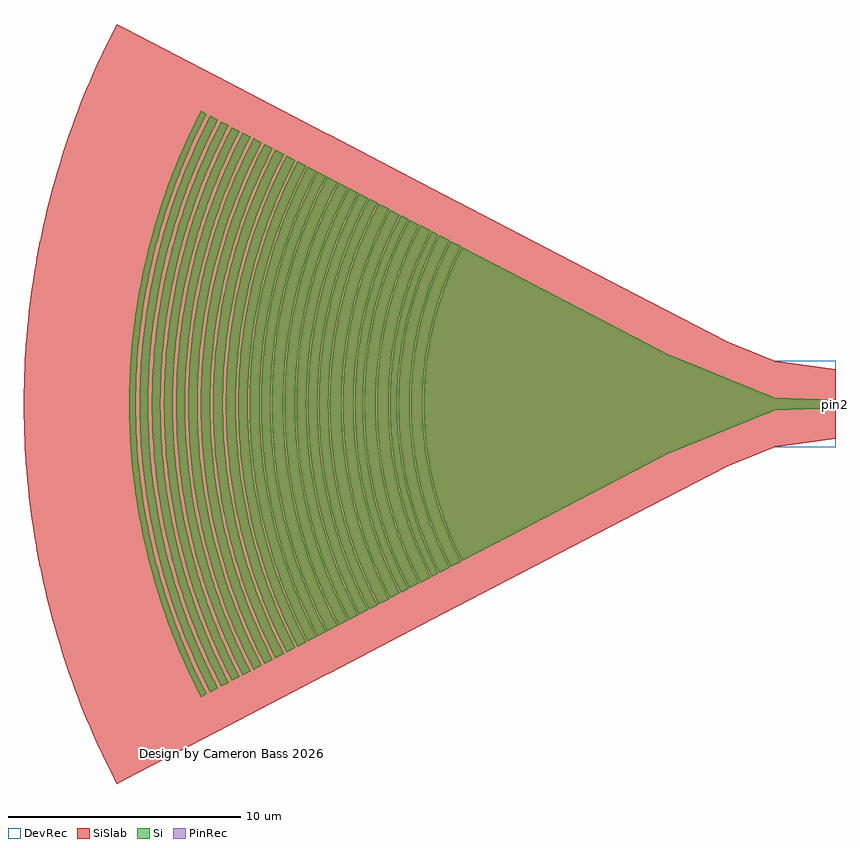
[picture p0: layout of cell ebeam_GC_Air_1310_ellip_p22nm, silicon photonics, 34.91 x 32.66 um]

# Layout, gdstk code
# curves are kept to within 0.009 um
import gdstk
lib = gdstk.Library(unit=1e-6, precision=1e-09)
def P(c, l, *ps):  # polygons
    for p in ps: c.add(gdstk.Polygon(p, *l))
Si = (1, 0)
PinRec = (1, 10)
SiSlab = (2, 0)
DevRec = (68, 0)

ebeam_gc_air_1310_ellip_ = lib.new_cell('ebeam_GC_Air_1310_ellip_p22nm')
P(ebeam_gc_air_1310_ellip_, Si, [(-16.057,-6.746),(-16.43,-5.978),(-16.805,-5.061),(-17.034,-4.391),(-17.299,-3.436),(-17.476,-2.605),(-17.603,-1.766),(-17.681,-0.919),(-17.709,-0.071),(-17.681,0.919),(-17.603,1.766),(-17.476,2.606),(-17.299,3.436),(-17.034,4.391),(-16.805,5.061),(-16.43,5.978),(-16.057,6.746),(-7.069,2.071),(-2.648,0.272),(0,0.175),(0,-0.175),(-2.67,-0.278),(-2.853,-0.364),(-3.177,-0.484),(-7.114,-2.09)],
  [(-16.55,-7.001),(-16.933,-6.208),(-17.271,-5.393),(-17.56,-4.56),(-17.726,-3.996),(-17.835,-3.568),(-18.019,-2.705),(-18.15,-1.834),(-18.24,-0.808),(-18.261,0.074),(-18.231,0.955),(-18.132,1.979),(-17.992,2.85),(-17.8,3.711),(-17.56,4.56),(-17.271,5.393),(-16.933,6.208),(-16.549,7.002),(-16.107,6.771),(-16.481,6.001),(-16.808,5.213),(-17.087,4.408),(-17.32,3.588),(-17.419,3.173),(-17.53,2.616),(-17.658,1.772),(-17.745,0.782),(-17.765,0.071),(-17.745,-0.782),(-17.658,-1.772),(-17.53,-2.615),(-17.354,-3.45),(-17.087,-4.409),(-16.808,-5.213),(-16.481,-6.001),(-16.107,-6.771)],
  [(-17.031,-7.252),(-17.427,-6.432),(-17.777,-5.588),(-18.076,-4.725),(-18.361,-3.697),(-18.551,-2.803),(-18.626,-2.352),(-18.705,-1.748),(-18.78,-0.837),(-18.802,0.076),(-18.788,0.685),(-18.761,1.142),(-18.668,2.051),(-18.523,2.953),(-18.325,3.845),(-18.076,4.724),(-17.777,5.588),(-17.427,6.432),(-17.03,7.252),(-16.598,7.027),(-16.861,6.499),(-17.044,6.096),(-17.374,5.275),(-17.657,4.435),(-17.891,3.582),(-18.073,2.716),(-18.206,1.84),(-18.287,0.959),(-18.317,0.074),(-18.296,-0.811),(-18.206,-1.84),(-18.073,-2.716),(-17.891,-3.582),(-17.657,-4.435),(-17.374,-5.275),(-17.044,-6.096),(-16.861,-6.499),(-16.598,-7.027)],
  [(-17.35,-7.419),(-17.756,-6.58),(-18.114,-5.717),(-18.42,-4.834),(-18.675,-3.934),(-18.878,-3.021),(-18.959,-2.561),(-19.046,-1.944),(-19.132,-1.012),(-19.163,-0.078),(-19.141,0.857),(-19.046,1.944),(-18.906,2.868),(-18.712,3.783),(-18.466,4.684),(-18.169,5.571),(-17.756,6.581),(-17.35,7.419),(-17.08,7.277),(-17.54,6.315),(-17.774,5.751),(-17.985,5.177),(-18.175,4.595),(-18.302,4.155),(-18.452,3.562),(-18.548,3.114),(-18.681,2.361),(-18.777,1.603),(-18.836,0.841),(-18.858,0.077),(-18.843,-0.688),(-18.792,-1.45),(-18.681,-2.361),(-18.548,-3.114),(-18.452,-3.562),(-18.302,-4.154),(-18.175,-4.595),(-17.985,-5.177),(-17.773,-5.75),(-17.54,-6.315),(-17.08,-7.277)],
  [(-17.847,-7.677),(-18.265,-6.81),(-18.456,-6.367),(-18.692,-5.766),(-19,-4.848),(-19.254,-3.915),(-19.362,-3.443),(-19.483,-2.81),(-19.618,-1.851),(-19.697,-0.887),(-19.721,0.081),(-19.688,1.048),(-19.599,2.012),(-19.455,2.968),(-19.254,3.915),(-19,4.848),(-18.692,5.766),(-18.265,6.811),(-17.846,7.677),(-17.4,7.444),(-17.742,6.747),(-18.11,5.883),(-18.426,5),(-18.565,4.552),(-18.73,3.948),(-18.838,3.491),(-18.961,2.878),(-19.101,1.95),(-19.165,1.328),(-19.197,0.86),(-19.219,0.078),(-19.197,-0.86),(-19.165,-1.328),(-19.101,-1.95),(-18.961,-2.878),(-18.767,-3.796),(-18.52,-4.702),(-18.377,-5.148),(-18.165,-5.737),(-17.807,-6.604),(-17.4,-7.444)],
  [(-18.327,-7.927),(-18.759,-7.032),(-19.019,-6.419),(-19.199,-5.954),(-19.518,-5.006),(-19.78,-4.042),(-19.987,-3.065),(-20.137,-2.077),(-20.19,-1.58),(-20.238,-0.915),(-20.262,0.083),(-20.228,1.082),(-20.137,2.077),(-19.987,3.065),(-19.78,4.042),(-19.518,5.006),(-19.312,5.64),(-19.141,6.11),(-18.759,7.033),(-18.326,7.927),(-17.898,7.703),(-18.318,6.834),(-18.571,6.239),(-18.745,5.785),(-19.055,4.865),(-19.311,3.929),(-19.511,2.978),(-19.656,2.018),(-19.746,1.052),(-19.779,0.081),(-19.755,-0.89),(-19.675,-1.857),(-19.539,-2.819),(-19.45,-3.297),(-19.311,-3.928),(-19.055,-4.865),(-18.745,-5.785),(-18.571,-6.238),(-18.318,-6.834),(-17.898,-7.703)],
  [(-18.689,-8.115),(-19.131,-7.199),(-19.523,-6.254),(-19.858,-5.288),(-20.05,-4.634),(-20.177,-4.138),(-20.291,-3.64),(-20.419,-2.97),(-20.562,-1.956),(-20.646,-0.937),(-20.67,0.085),(-20.636,1.107),(-20.542,2.127),(-20.389,3.138),(-20.177,4.138),(-20.05,4.634),(-19.858,5.287),(-19.523,6.254),(-19.131,7.199),(-18.688,8.115),(-18.376,7.953),(-18.811,7.056),(-19.134,6.286),(-19.472,5.342),(-19.62,4.863),(-19.796,4.218),(-20.012,3.24),(-20.172,2.25),(-20.274,1.252),(-20.303,0.752),(-20.319,0.084),(-20.295,-0.919),(-20.23,-1.752),(-20.125,-2.581),(-19.98,-3.404),(-19.875,-3.893),(-19.711,-4.541),(-19.523,-5.182),(-19.365,-5.659),(-19.134,-6.285),(-18.945,-6.749),(-18.671,-7.36),(-18.376,-7.952)],
  [(-19.146,-8.354),(-19.602,-7.412),(-19.877,-6.765),(-20.067,-6.275),(-20.402,-5.276),(-20.679,-4.26),(-20.897,-3.23),(-21.055,-2.189),(-21.151,-1.14),(-21.187,-0.088),(-21.177,0.615),(-21.151,1.14),(-21.055,2.189),(-20.897,3.23),(-20.679,4.26),(-20.402,5.276),(-20.067,6.275),(-19.673,7.252),(-19.38,7.89),(-19.146,8.354),(-18.739,8.141),(-19.184,7.223),(-19.452,6.593),(-19.635,6.114),(-19.963,5.141),(-20.234,4.152),(-20.445,3.148),(-20.599,2.133),(-20.693,1.111),(-20.728,0.086),(-20.703,-0.941),(-20.619,-1.963),(-20.475,-2.979),(-20.381,-3.484),(-20.234,-4.152),(-19.963,-5.141),(-19.635,-6.114),(-19.253,-7.066),(-19.041,-7.533),(-18.739,-8.141)],
  [(-19.645,-8.614),(-20.113,-7.645),(-20.529,-6.642),(-20.884,-5.616),(-21.18,-4.57),(-21.415,-3.51),(-21.588,-2.438),(-21.698,-1.357),(-21.729,-0.815),(-21.747,-0.09),(-21.721,0.995),(-21.684,1.538),(-21.61,2.258),(-21.448,3.332),(-21.223,4.395),(-20.938,5.442),(-20.714,6.131),(-20.529,6.642),(-20.113,7.645),(-19.645,8.614),(-19.197,8.38),(-19.654,7.435),(-20.058,6.459),(-20.238,5.963),(-20.457,5.293),(-20.693,4.445),(-20.92,3.414),(-21.089,2.371),(-21.167,1.671),(-21.208,1.144),(-21.244,0.088),(-21.239,-0.44),(-21.208,-1.144),(-21.111,-2.195),(-20.953,-3.24),(-20.735,-4.274),(-20.457,-5.292),(-20.295,-5.796),(-20.059,-6.459),(-19.654,-7.435),(-19.198,-8.38)],
  [(-20.06,-8.83),(-20.541,-7.835),(-20.967,-6.807),(-21.332,-5.755),(-21.635,-4.683),(-21.876,-3.597),(-22.053,-2.498),(-22.166,-1.391),(-22.198,-0.835),(-22.216,-0.093),(-22.189,1.02),(-22.098,2.129),(-22.028,2.682),(-21.91,3.415),(-21.679,4.504),(-21.491,5.222),(-21.332,5.755),(-20.967,6.807),(-20.541,7.835),(-20.06,8.83),(-19.699,8.641),(-20.169,7.669),(-20.521,6.832),(-20.711,6.322),(-20.943,5.633),(-21.24,4.585),(-21.475,3.521),(-21.597,2.805),(-21.671,2.265),(-21.771,1.18),(-21.808,0.091),(-21.782,-0.999),(-21.745,-1.542),(-21.671,-2.264),(-21.508,-3.342),(-21.283,-4.408),(-20.996,-5.46),(-20.649,-6.492),(-20.243,-7.502),(-20.017,-7.999),(-19.699,-8.641)],
  [(-20.481,-9.049),(-20.974,-8.028),(-21.411,-6.974),(-21.784,-5.897),(-21.948,-5.35),(-22.14,-4.614),(-22.377,-3.499),(-22.498,-2.748),(-22.569,-2.183),(-22.663,-1.045),(-22.691,0.095),(-22.652,1.235),(-22.547,2.371),(-22.377,3.499),(-22.267,4.059),(-22.095,4.799),(-21.784,5.897),(-21.411,6.974),(-20.974,8.028),(-20.734,8.545),(-20.48,9.049),(-20.111,8.856),(-20.594,7.858),(-21.02,6.827),(-21.211,6.302),(-21.441,5.595),(-21.736,4.517),(-21.966,3.425),(-22.133,2.321),(-22.235,1.209),(-22.273,0.093),(-22.246,-1.023),(-22.192,-1.766),(-22.133,-2.32),(-21.966,-3.425),(-21.736,-4.517),(-21.596,-5.058),(-21.386,-5.773),(-21.02,-6.826),(-20.594,-7.858),(-20.112,-8.857)],
  [(-20.916,-9.275),(-21.175,-8.757),(-21.501,-8.048),(-21.938,-6.964),(-22.31,-5.857),(-22.617,-4.729),(-22.86,-3.585),(-23.035,-2.43),(-23.142,-1.265),(-23.176,-0.487),(-23.181,0.097),(-23.142,1.265),(-23.035,2.43),(-22.86,3.586),(-22.747,4.159),(-22.571,4.918),(-22.252,6.043),(-21.869,7.147),(-21.422,8.227),(-20.915,9.275),(-20.535,9.076),(-21.031,8.051),(-21.468,6.994),(-21.844,5.913),(-22.008,5.366),(-22.202,4.628),(-22.438,3.509),(-22.609,2.378),(-22.714,1.239),(-22.753,0.096),(-22.742,-0.667),(-22.714,-1.238),(-22.609,-2.377),(-22.438,-3.509),(-22.202,-4.628),(-22.008,-5.366),(-21.844,-5.913),(-21.468,-6.994),(-21.031,-8.051),(-20.535,-9.076)],
  [(-21.367,-9.51),(-21.633,-8.98),(-21.966,-8.253),(-22.414,-7.142),(-22.796,-6.005),(-23.111,-4.849),(-23.36,-3.677),(-23.539,-2.492),(-23.649,-1.297),(-23.684,-0.499),(-23.689,0.1),(-23.678,0.7),(-23.649,1.298),(-23.539,2.492),(-23.36,3.677),(-23.111,4.849),(-22.962,5.43),(-22.737,6.197),(-22.344,7.329),(-21.885,8.436),(-21.633,8.98),(-21.366,9.51),(-20.965,9.3),(-21.474,8.25),(-21.923,7.167),(-22.307,6.059),(-22.475,5.498),(-22.673,4.742),(-22.915,3.595),(-23.091,2.436),(-23.198,1.27),(-23.238,0.098),(-23.21,-1.074),(-23.153,-1.854),(-23.091,-2.436),(-22.915,-3.595),(-22.673,-4.742),(-22.475,-5.498),(-22.307,-6.059),(-21.922,-7.166),(-21.474,-8.25),(-20.965,-9.3)],
  [(-21.855,-9.763),(-22.126,-9.222),(-22.468,-8.476),(-22.928,-7.334),(-23.133,-6.754),(-23.32,-6.167),(-23.491,-5.576),(-23.644,-4.98),(-23.781,-4.38),(-23.899,-3.776),(-24,-3.168),(-24.107,-2.354),(-24.208,-1.128),(-24.237,0.103),(-24.226,0.718),(-24.196,1.333),(-24.083,2.559),(-23.899,3.776),(-23.781,4.38),(-23.595,5.179),(-23.26,6.364),(-22.856,7.527),(-22.385,8.664),(-22.126,9.222),(-21.854,9.764),(-21.416,9.535),(-21.854,8.642),(-22.325,7.536),(-22.73,6.404),(-22.908,5.831),(-23.119,5.058),(-23.258,4.472),(-23.378,3.884),(-23.57,2.697),(-23.692,1.501),(-23.727,0.901),(-23.746,0.1),(-23.717,-1.102),(-23.659,-1.901),(-23.595,-2.498),(-23.415,-3.687),(-23.167,-4.863),(-22.85,-6.023),(-22.467,-7.161),(-22.251,-7.722),(-21.937,-8.459),(-21.416,-9.535)],
  [(-22.269,-9.979),(-22.546,-9.425),(-22.811,-8.854),(-23.293,-7.692),(-23.705,-6.504),(-23.885,-5.901),(-24.098,-5.09),(-24.28,-4.271),(-24.395,-3.653),(-24.492,-3.031),(-24.571,-2.406),(-24.674,-1.153),(-24.698,-0.525),(-24.704,0.105),(-24.692,0.734),(-24.662,1.362),(-24.613,1.99),(-24.546,2.616),(-24.358,3.859),(-24.237,4.477),(-24.098,5.09),(-23.885,5.901),(-23.705,6.504),(-23.293,7.692),(-22.811,8.855),(-22.546,9.425),(-22.268,9.979),(-21.904,9.789),(-22.265,9.061),(-22.52,8.499),(-22.835,7.739),(-23.051,7.16),(-23.251,6.577),(-23.49,5.79),(-23.65,5.194),(-23.836,4.392),(-24.055,3.177),(-24.184,2.157),(-24.264,1.131),(-24.294,0.103),(-24.288,-0.515),(-24.264,-1.131),(-24.184,-2.157),(-24.055,-3.177),(-23.836,-4.392),(-23.65,-5.194),(-23.49,-5.789),(-23.251,-6.576),(-23.051,-7.16),(-22.759,-7.93),(-22.52,-8.498),(-22.265,-9.061),(-21.904,-9.789)],
  [(-22.702,-10.205),(-22.988,-9.637),(-23.259,-9.053),(-23.514,-8.463),(-23.752,-7.865),(-24.173,-6.65),(-24.415,-5.827),(-24.575,-5.204),(-24.718,-4.577),(-24.841,-3.946),(-24.947,-3.311),(-25.034,-2.674),(-25.102,-2.034),(-25.152,-1.392),(-25.183,-0.751),(-25.195,-0.107),(-25.189,0.536),(-25.164,1.179),(-25.121,1.821),(-25.059,2.46),(-24.978,3.099),(-24.879,3.735),(-24.718,4.577),(-24.575,5.204),(-24.415,5.827),(-24.236,6.445),(-24.04,7.058),(-23.827,7.665),(-23.346,8.858),(-22.988,9.637),(-22.702,10.205),(-22.321,10.006),(-22.691,9.26),(-22.952,8.686),(-23.274,7.909),(-23.494,7.318),(-23.763,6.521),(-23.943,5.917),(-24.107,5.307),(-24.297,4.489),(-24.488,3.455),(-24.631,2.413),(-24.722,1.366),(-24.753,0.736),(-24.765,0.105),(-24.745,-0.946),(-24.708,-1.576),(-24.653,-2.204),(-24.521,-3.247),(-24.297,-4.489),(-24.107,-5.307),(-23.943,-5.917),(-23.763,-6.521),(-23.494,-7.318),(-23.274,-7.909),(-22.952,-8.686),(-22.691,-9.26),(-22.321,-10.006)],
  [(-23.134,-10.43),(-23.429,-9.844),(-23.706,-9.248),(-24.21,-8.034),(-24.641,-6.793),(-24.829,-6.163),(-24.999,-5.528),(-25.284,-4.246),(-25.398,-3.598),(-25.493,-2.949),(-25.569,-2.296),(-25.641,-1.423),(-25.673,-0.767),(-25.685,-0.109),(-25.679,0.547),(-25.654,1.204),(-25.609,1.86),(-25.546,2.513),(-25.463,3.166),(-25.324,4.031),(-25.197,4.676),(-25.051,5.316),(-24.887,5.953),(-24.705,6.583),(-24.505,7.21),(-24.287,7.83),(-23.795,9.048),(-23.524,9.646),(-23.134,10.43),(-22.769,10.24),(-23.149,9.473),(-23.416,8.885),(-23.746,8.091),(-23.971,7.487),(-24.246,6.671),(-24.431,6.053),(-24.65,5.221),(-24.793,4.592),(-24.989,3.534),(-25.082,2.896),(-25.157,2.255),(-25.24,1.183),(-25.272,0.108),(-25.251,-0.968),(-25.157,-2.255),(-24.989,-3.534),(-24.793,-4.592),(-24.65,-5.221),(-24.431,-6.053),(-24.246,-6.671),(-23.971,-7.487),(-23.746,-8.091),(-23.416,-8.885),(-23.149,-9.472),(-22.769,-10.239)],
  [(-23.604,-10.675),(-23.908,-10.069),(-24.283,-9.255),(-24.543,-8.635),(-24.786,-8.009),(-25.009,-7.374),(-25.214,-6.734),(-25.401,-6.089),(-25.568,-5.438),(-25.718,-4.783),(-25.847,-4.123),(-25.958,-3.459),(-26.049,-2.794),(-26.12,-2.125),(-26.172,-1.455),(-26.205,-0.784),(-26.218,0.112),(-26.205,0.784),(-26.172,1.455),(-26.12,2.126),(-26.049,2.794),(-25.958,3.46),(-25.806,4.343),(-25.67,5.002),(-25.515,5.655),(-25.341,6.305),(-25.148,6.948),(-24.937,7.586),(-24.707,8.218),(-24.458,8.842),(-24.192,9.46),(-23.908,10.07),(-23.603,10.675),(-23.227,10.478),(-23.619,9.689),(-23.892,9.088),(-24.148,8.48),(-24.46,7.658),(-24.674,7.033),(-24.931,6.191),(-25.155,5.34),(-25.301,4.697),(-25.502,3.614),(-25.651,2.524),(-25.714,1.868),(-25.759,1.21),(-25.791,0.11),(-25.77,-0.99),(-25.732,-1.648),(-25.674,-2.306),(-25.536,-3.398),(-25.301,-4.697),(-25.155,-5.34),(-24.931,-6.191),(-24.674,-7.032),(-24.46,-7.657),(-24.148,-8.48),(-23.892,-9.088),(-23.619,-9.689),(-23.227,-10.478)],
  [(-24.087,-10.926),(-24.401,-10.301),(-24.691,-9.677),(-24.964,-9.045),(-25.219,-8.407),(-25.454,-7.761),(-25.738,-6.889),(-25.929,-6.229),(-26.1,-5.563),(-26.253,-4.893),(-26.386,-4.218),(-26.499,-3.539),(-26.592,-2.858),(-26.685,-1.946),(-26.732,-1.26),(-26.758,-0.573),(-26.765,0.115),(-26.752,0.802),(-26.718,1.489),(-26.665,2.174),(-26.592,2.859),(-26.499,3.539),(-26.344,4.443),(-26.204,5.117),(-26.045,5.785),(-25.867,6.45),(-25.67,7.109),(-25.454,7.761),(-25.219,8.407),(-24.875,9.258),(-24.597,9.886),(-24.086,10.926),(-23.715,10.732),(-24.119,9.919),(-24.489,9.096),(-24.745,8.471),(-25.056,7.626),(-25.336,6.769),(-25.524,6.12),(-25.745,5.247),(-25.887,4.587),(-26.083,3.478),(-26.225,2.361),(-26.312,1.238),(-26.345,0.113),(-26.323,-1.013),(-26.225,-2.361),(-26.083,-3.478),(-25.887,-4.587),(-25.745,-5.247),(-25.524,-6.12),(-25.336,-6.77),(-25.056,-7.626),(-24.745,-8.471),(-24.489,-9.096),(-24.119,-9.918),(-23.715,-10.732)],
  [(-24.556,-11.171),(-24.88,-10.529),(-25.177,-9.891),(-25.456,-9.245),(-25.716,-8.593),(-25.957,-7.932),(-26.178,-7.266),(-26.442,-6.367),(-26.618,-5.686),(-26.774,-5.001),(-26.91,-4.311),(-27.025,-3.617),(-27.12,-2.922),(-27.195,-2.222),(-27.25,-1.521),(-27.284,-0.82),(-27.297,-0.117),(-27.284,0.82),(-27.25,1.522),(-27.195,2.223),(-27.12,2.922),(-27.025,3.617),(-26.91,4.311),(-26.774,5.001),(-26.618,5.686),(-26.442,6.367),(-26.178,7.266),(-25.957,7.932),(-25.716,8.593),(-25.456,9.246),(-25.177,9.891),(-24.88,10.528),(-24.556,11.171),(-24.196,10.983),(-24.613,10.145),(-24.9,9.516),(-25.253,8.665),(-25.495,8.017),(-25.79,7.144),(-25.988,6.483),(-26.168,5.814),(-26.376,4.917),(-26.587,3.785),(-26.743,2.643),(-26.844,1.496),(-26.877,0.806),(-26.89,0.115),(-26.868,-1.036),(-26.79,-2.185),(-26.656,-3.33),(-26.549,-4.012),(-26.422,-4.692),(-26.223,-5.591),(-26.05,-6.26),(-25.858,-6.925),(-25.572,-7.801),(-25.252,-8.665),(-24.9,-9.516),(-24.613,-10.145),(-24.196,-10.983)],
  [(-25.029,-11.417),(-25.361,-10.759),(-25.665,-10.108),(-25.949,-9.449),(-26.216,-8.781),(-26.461,-8.106),(-26.687,-7.425),(-26.894,-6.736),(-27.08,-6.042),(-27.245,-5.344),(-27.392,-4.64),(-27.516,-3.934),(-27.621,-3.223),(-27.704,-2.509),(-27.767,-1.794),(-27.818,-0.838),(-27.832,-0.12),(-27.825,0.599),(-27.797,1.316),(-27.748,2.033),(-27.651,2.986),(-27.553,3.697),(-27.436,4.405),(-27.297,5.111),(-27.137,5.81),(-26.958,6.506),(-26.758,7.196),(-26.539,7.88),(-26.216,8.781),(-25.949,9.448),(-25.665,10.108),(-25.361,10.759),(-25.029,11.417),(-24.676,11.233),(-25.002,10.586),(-25.397,9.73),(-25.671,9.079),(-26.006,8.198),(-26.235,7.53),(-26.51,6.629),(-26.694,5.946),(-26.907,5.028),(-27.043,4.335),(-27.159,3.638),(-27.307,2.47),(-27.399,1.295),(-27.433,0.118),(-27.426,-0.589),(-27.399,-1.295),(-27.307,-2.469),(-27.159,-3.638),(-27.043,-4.335),(-26.906,-5.029),(-26.694,-5.946),(-26.51,-6.628),(-26.235,-7.53),(-26.006,-8.198),(-25.671,-9.079),(-25.397,-9.73),(-25.002,-10.586),(-24.676,-11.232)],
  [(-25.492,-11.657),(-25.83,-10.985),(-26.239,-10.097),(-26.523,-9.42),(-26.788,-8.737),(-27.033,-8.045),(-27.257,-7.346),(-27.46,-6.642),(-27.643,-5.932),(-27.807,-5.218),(-27.948,-4.498),(-28.069,-3.774),(-28.168,-3.048),(-28.246,-2.319),(-28.303,-1.587),(-28.338,-0.856),(-28.353,0.122),(-28.338,0.856),(-28.303,1.587),(-28.246,2.319),(-28.168,3.048),(-28.069,3.774),(-27.948,4.498),(-27.807,5.218),(-27.585,6.169),(-27.395,6.878),(-27.184,7.581),(-26.953,8.276),(-26.702,8.966),(-26.336,9.873),(-26.14,10.32),(-25.83,10.985),(-25.491,11.657),(-25.15,11.479),(-25.588,10.6),(-25.887,9.943),(-26.257,9.054),(-26.51,8.377),(-26.818,7.465),(-27.025,6.774),(-27.271,5.843),(-27.431,5.138),(-27.651,3.955),(-27.756,3.24),(-27.84,2.524),(-27.933,1.324),(-27.968,0.121),(-27.945,-1.083),(-27.903,-1.803),(-27.84,-2.523),(-27.756,-3.24),(-27.651,-3.954),(-27.43,-5.138),(-27.271,-5.842),(-27.025,-6.773),(-26.818,-7.465),(-26.51,-8.377),(-26.257,-9.054),(-25.887,-9.943),(-25.588,-10.6),(-25.15,-11.479)],
  [(-25.956,-11.899),(-26.302,-11.213),(-26.619,-10.534),(-26.915,-9.848),(-27.193,-9.152),(-27.449,-8.448),(-27.685,-7.738),(-27.9,-7.021),(-28.094,-6.297),(-28.266,-5.57),(-28.465,-4.591),(-28.587,-3.852),(-28.689,-3.111),(-28.769,-2.367),(-28.827,-1.62),(-28.863,-0.873),(-28.877,-0.125),(-28.863,0.873),(-28.827,1.62),(-28.769,2.367),(-28.689,3.112),(-28.587,3.853),(-28.465,4.591),(-28.32,5.326),(-28.153,6.055),(-27.967,6.781),(-27.759,7.499),(-27.53,8.212),(-27.281,8.918),(-27.01,9.616),(-26.619,10.534),(-26.302,11.213),(-25.957,11.9),(-25.62,11.724),(-25.961,11.048),(-26.373,10.155),(-26.659,9.475),(-27.009,8.556),(-27.248,7.858),(-27.536,6.918),(-27.727,6.205),(-27.95,5.248),(-28.091,4.524),(-28.212,3.797),(-28.367,2.577),(-28.463,1.352),(-28.491,0.614),(-28.499,-0.123),(-28.463,-1.352),(-28.413,-2.087),(-28.341,-2.821),(-28.174,-4.039),(-27.95,-5.248),(-27.786,-5.967),(-27.536,-6.917),(-27.248,-7.858),(-27.009,-8.556),(-26.659,-9.475),(-26.373,-10.154),(-26.067,-10.826),(-25.62,-11.724)],
  [(-26.416,-12.138),(-26.768,-11.438),(-27.091,-10.746),(-27.49,-9.809),(-27.766,-9.097),(-28.02,-8.377),(-28.254,-7.649),(-28.466,-6.917),(-28.656,-6.177),(-28.825,-5.433),(-28.974,-4.683),(-29.136,-3.678),(-29.232,-2.92),(-29.306,-2.161),(-29.358,-1.399),(-29.387,-0.637),(-29.395,0.127),(-29.38,0.891),(-29.326,1.908),(-29.259,2.668),(-29.17,3.426),(-29.06,4.182),(-28.927,4.933),(-28.772,5.682),(-28.595,6.424),(-28.397,7.162),(-28.178,7.893),(-27.938,8.618),(-27.676,9.335),(-27.393,10.044),(-27.091,10.746),(-26.768,11.438),(-26.415,12.138),(-26.089,11.968),(-26.437,11.278),(-26.756,10.596),(-27.055,9.905),(-27.421,8.97),(-27.672,8.26),(-27.975,7.303),(-28.24,6.334),(-28.414,5.602),(-28.566,4.865),(-28.697,4.123),(-28.867,2.88),(-28.977,1.631),(-29.013,0.878),(-29.028,0.126),(-29.02,-0.628),(-28.991,-1.38),(-28.894,-2.631),(-28.806,-3.378),(-28.697,-4.123),(-28.566,-4.865),(-28.414,-5.602),(-28.24,-6.334),(-27.975,-7.303),(-27.751,-8.021),(-27.507,-8.734),(-27.15,-9.672),(-26.858,-10.366),(-26.546,-11.051),(-26.089,-11.968)],
  [(-26.885,-12.383),(-27.237,-11.683),(-27.567,-10.976),(-27.876,-10.26),(-28.256,-9.292),(-28.515,-8.557),(-28.753,-7.814),(-28.969,-7.065),(-29.164,-6.309),(-29.337,-5.549),(-29.487,-4.784),(-29.615,-4.014),(-29.721,-3.242),(-29.803,-2.466),(-29.864,-1.688),(-29.902,-0.91),(-29.917,-0.13),(-29.902,0.91),(-29.864,1.688),(-29.803,2.466),(-29.721,3.242),(-29.615,4.014),(-29.487,4.784),(-29.337,5.55),(-29.164,6.309),(-28.969,7.065),(-28.753,7.814),(-28.515,8.557),(-28.256,9.293),(-27.876,10.26),(-27.567,10.976),(-27.237,11.684),(-26.885,12.384),(-26.556,12.212),(-27.022,11.276),(-27.341,10.577),(-27.734,9.631),(-28.003,8.911),(-28.331,7.941),(-28.551,7.205),(-28.751,6.464),(-28.983,5.466),(-29.217,4.207),(-29.391,2.938),(-29.465,2.174),(-29.517,1.408),(-29.555,0.128),(-29.53,-1.152),(-29.485,-1.918),(-29.418,-2.684),(-29.257,-3.954),(-29.13,-4.712),(-28.983,-5.466),(-28.751,-6.463),(-28.551,-7.205),(-28.331,-7.941),(-28.003,-8.911),(-27.734,-9.631),(-27.341,-10.577),(-27.022,-11.276),(-26.556,-12.211)],
  [(-27.283,-12.591),(-27.649,-11.863),(-27.984,-11.145),(-28.297,-10.419),(-28.59,-9.682),(-28.847,-8.979),(-29.11,-8.187),(-29.337,-7.428),(-29.542,-6.663),(-29.724,-5.893),(-29.885,-5.117),(-30.023,-4.337),(-30.138,-3.554),(-30.255,-2.504),(-30.311,-1.796),(-30.355,-0.924),(-30.37,-0.132),(-30.362,0.659),(-30.332,1.451),(-30.278,2.242),(-30.171,3.292),(-30.064,4.076),(-29.934,4.858),(-29.781,5.635),(-29.605,6.407),(-29.408,7.174),(-29.188,7.934),(-28.947,8.689),(-28.683,9.436),(-28.397,10.174),(-27.984,11.146),(-27.649,11.864),(-27.283,12.591),(-27.035,12.461),(-27.502,11.52),(-27.827,10.806),(-28.228,9.84),(-28.503,9.104),(-28.757,8.362),(-29.063,7.361),(-29.266,6.604),(-29.447,5.84),(-29.605,5.071),(-29.741,4.298),(-29.918,3.002),(-30.033,1.699),(-30.071,0.915),(-30.086,0.131),(-30.061,-1.177),(-30.015,-1.96),(-29.946,-2.742),(-29.855,-3.521),(-29.741,-4.299),(-29.605,-5.071),(-29.447,-5.839),(-29.266,-6.604),(-29.063,-7.361),(-28.837,-8.113),(-28.503,-9.104),(-28.228,-9.84),(-27.827,-10.806),(-27.502,-11.521),(-27.035,-12.461)])
P(ebeam_gc_air_1310_ellip_, SiSlab, [(-30.904,-16.329),(-31.366,-15.41),(-31.801,-14.477),(-32.208,-13.533),(-32.588,-12.577),(-32.94,-11.61),(-33.264,-10.634),(-33.559,-9.648),(-33.825,-8.655),(-34.062,-7.654),(-34.27,-6.647),(-34.449,-5.634),(-34.598,-4.616),(-34.717,-3.594),(-34.807,-2.569),(-34.867,-1.543),(-34.9,-0.171),(-34.89,0.857),(-34.85,1.885),(-34.781,2.912),(-34.681,3.935),(-34.552,4.956),(-34.393,5.972),(-34.135,7.319),(-33.907,8.322),(-33.651,9.318),(-33.365,10.307),(-33.051,11.286),(-32.709,12.256),(-32.338,13.216),(-31.94,14.164),(-31.366,15.41),(-30.904,16.329),(-4.744,2.708),(-2.65,1.855),(0,1.5),(0,-1.5),(-2.65,-1.855),(-4.728,-2.7)])
P(ebeam_gc_air_1310_ellip_, DevRec, [(-30.904,-16.329),(-31.366,-15.41),(-31.801,-14.477),(-32.208,-13.533),(-32.588,-12.577),(-32.94,-11.61),(-33.264,-10.634),(-33.559,-9.648),(-33.825,-8.655),(-34.062,-7.654),(-34.27,-6.647),(-34.449,-5.634),(-34.598,-4.616),(-34.717,-3.594),(-34.807,-2.569),(-34.867,-1.543),(-34.9,-0.171),(-34.89,0.857),(-34.85,1.885),(-34.781,2.912),(-34.681,3.935),(-34.552,4.956),(-34.393,5.972),(-34.135,7.319),(-33.907,8.322),(-33.651,9.318),(-33.365,10.307),(-33.051,11.286),(-32.709,12.256),(-32.338,13.216),(-31.94,14.164),(-31.366,15.41),(-30.904,16.329),(-4.744,2.708),(-2.65,1.855),(0,1.855),(0,-1.855),(-2.65,-1.855),(-4.728,-2.7)])
ebeam_gc_air_1310_ellip_.add(gdstk.FlexPath([(-0.01,0),(0.01,0)], 0.35, ends="flush", simple_path=True, layer=1, datatype=10))  # PinRec
ebeam_gc_air_1310_ellip_.add(gdstk.Label('pin2', (0,0), layer=1, texttype=10))
ebeam_gc_air_1310_ellip_.add(gdstk.Label('Design by Cameron Bass 2026', (-25.94,-15.02), layer=10, texttype=0))

lib.write_gds('ebeam_GC_Air_1310_ellip_p22nm.gds')
